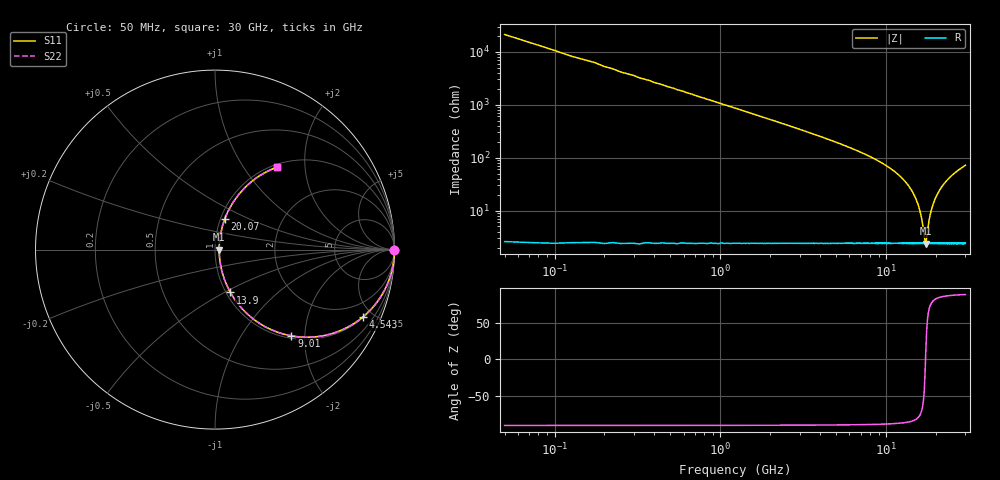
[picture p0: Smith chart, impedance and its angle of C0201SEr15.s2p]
!	AVX Thin Film Operation 	Date: April 2014
!	Description: Accu-P® Series, Thin Film  SMD RF Capacitor
!	Part Number: 02011JR15ZBSTR
# MHZ S MA R 50
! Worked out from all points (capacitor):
!   1201 points, 50 MHz to 30 GHz, reference 50 ohm
!   read as one part in series: C = 151 fF near 199.8 MHz
!   lowest |Z| = 2.35 ohm at 17.25 GHz (marker M1)
!   series resonance near 17.25 GHz, so ESL is about 570 pH
!   S11 on the Smith chart (normalised r, x): 50 MHz: open; 4.543 GHz: 1.05, -4.35; 9.01 GHz: 1.05, -1.71; 13.9 GHz: 1.05, -0.54; 20.07 GHz: 1.05, +0.37; 30 GHz: 1.05, +1.43
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50  1 -0.3  0.004712 89.7  0.004712 89.7  1 -0.3
249.667  1 -1.3  0.024 88.6  0.024 88.6  1 -1.3
424.375  0.999 -2.3  0.04 87.7  0.04 87.7  0.999 -2.3
698.917  0.998 -3.8  0.066 86.1  0.066 86.1  0.998 -3.8
1123.208  0.994 -6.1  0.106 83.8  0.106 83.8  0.994 -6.1
2421.042  0.973 -13.1  0.226 76.6  0.226 76.6  0.973 -13.1
4542.5  0.905 -24.6  0.416 64.8  0.416 64.8  0.905 -24.6
5041.667  0.883 -27.3  0.459 62.0  0.459 62.0  0.883 -27.3
9010.042  0.642 -48.5  0.749 39.9  0.749 39.9  0.642 -48.5
10058.29  0.563 -53.8  0.808 34.2  0.808 34.2  0.563 -53.8
13901.88  0.254 -70.2  0.945 14.6  0.945 14.6  0.254 -70.2
15025  0.166 -72.5  0.963 9.5  0.963 9.5  0.166 -72.5
16148.12  0.083 -69.0  0.973 4.5  0.973 4.5  0.083 -69.0
17246.29  0.023 -1.0  0.977 0.0  0.977 0.0  0.023 -1.0
17445.96  0.027 29.0  0.976 -0.8  0.976 -0.8  0.027 29.0
17995.04  0.056 62.2  0.975 -2.9  0.975 -2.9  0.056 62.2
18494.21  0.086 69.5  0.973 -4.8  0.973 -4.8  0.086 69.5
20016.67  0.178 72.4  0.961 -10.2  0.961 -10.2  0.178 72.4
20066.58  0.181 72.3  0.961 -10.3  0.961 -10.3  0.181 72.3
22188.04  0.293 68.6  0.934 -17.0  0.934 -17.0  0.293 68.6
25033.29  0.417 62.5  0.888 -24.6  0.888 -24.6  0.417 62.5
30000  0.573 53.1  0.8 -35.0  0.8 -35.0  0.573 53.1
